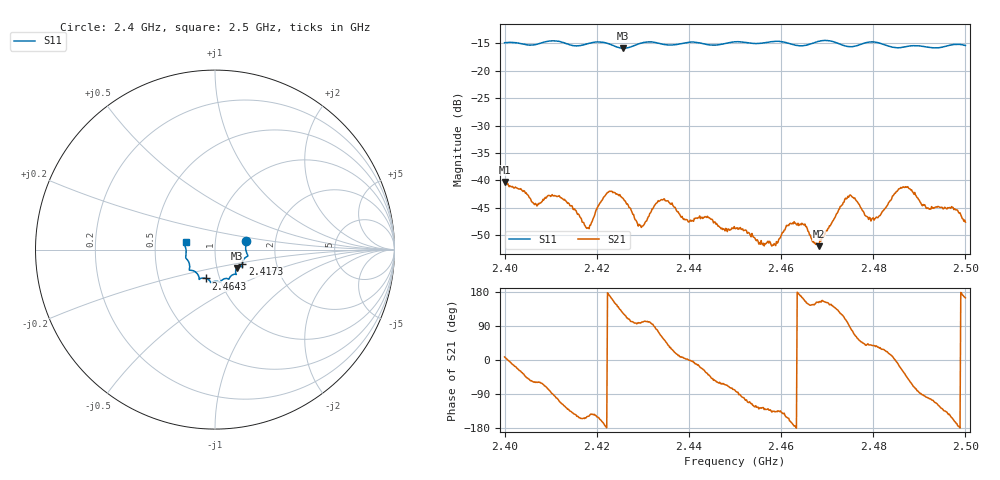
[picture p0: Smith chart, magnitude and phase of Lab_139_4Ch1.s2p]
# Hz S RI R 50
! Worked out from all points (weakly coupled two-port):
!   601 points, 2.4 GHz to 2.5 GHz, reference 50 ohm
!   highest |S21| = -40.27 dB at 2.4 GHz (marker M1); lowest = -52.0 dB at 2.4682 GHz (marker M2)
!   lowest |S11| = -15.9 dB at 2.4257 GHz (marker M3), VSWR 1.38, Z = 62.5 - j13.1 ohm
!   |S11| at or under -10 dB: start of sweep to end of sweep
!   S12 and S22 are empty: the file has one direction only
!   S11 on the Smith chart (normalised r, x): 2.4 GHz: 1.41, +0.14; 2.4173 GHz: 1.34, -0.23; 2.4643 GHz: 0.86, -0.28; 2.5 GHz: 0.72, +0.06
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2.4e9  0.1729 0.0489  0.0096 0.00136  0 0  0 0
2.406667e9  0.1724 -0.00625  0.00316 -0.0053  0 0  0 0
2.412e9  0.1803 -0.0377  -0.00251 -0.00662  0 0  0 0
2.416667e9  0.1527 -0.0743  -0.00402 -0.00195  0 0  0 0
2.417333e9  0.1519 -0.0818  -0.00354 -0.00169  0 0  0 0
2.4225e9  0.1486 -0.0944  -0.00776 0.000749  0 0  0 0
2.425667e9  0.1228 -0.102  -0.00381 0.00573  0 0  0 0
2.4295e9  0.1166 -0.1341  -0.0005 0.00387  0 0  0 0
2.433333e9  0.113 -0.1375  0.00172 0.00632  0 0  0 0
2.439667e9  0.0792 -0.1623  0.00436 0.000181  0 0  0 0
2.45e9  0.0291 -0.1808  0.000647 -0.00359  0 0  0 0
2.458333e9  -0.0205 -0.1835  -0.00183 -0.0018  0 0  0 0
2.4615e9  -0.0281 -0.1757  -0.00349 -0.00174  0 0  0 0
2.464333e9  -0.05 -0.1607  -0.00387 0.000757  0 0  0 0
2.466667e9  -0.0759 -0.1592  -0.00242 0.00164  0 0  0 0
2.468167e9  -0.0857 -0.164  -0.00221 0.0012  0 0  0 0
2.4745e9  -0.1016 -0.1312  -0.000855 0.00712  0 0  0 0
2.479833e9  -0.1431 -0.1135  0.00354 0.00278  0 0  0 0
2.483333e9  -0.141 -0.0899  0.00599 0.00188  0 0  0 0
2.487e9  -0.1554 -0.0557  0.00675 -0.0056  0 0  0 0
2.491833e9  -0.1614 -0.027  -0.000974 -0.00555  0 0  0 0
2.5e9  -0.164 0.0427  -0.00401 0.00115  0 0  0 0
